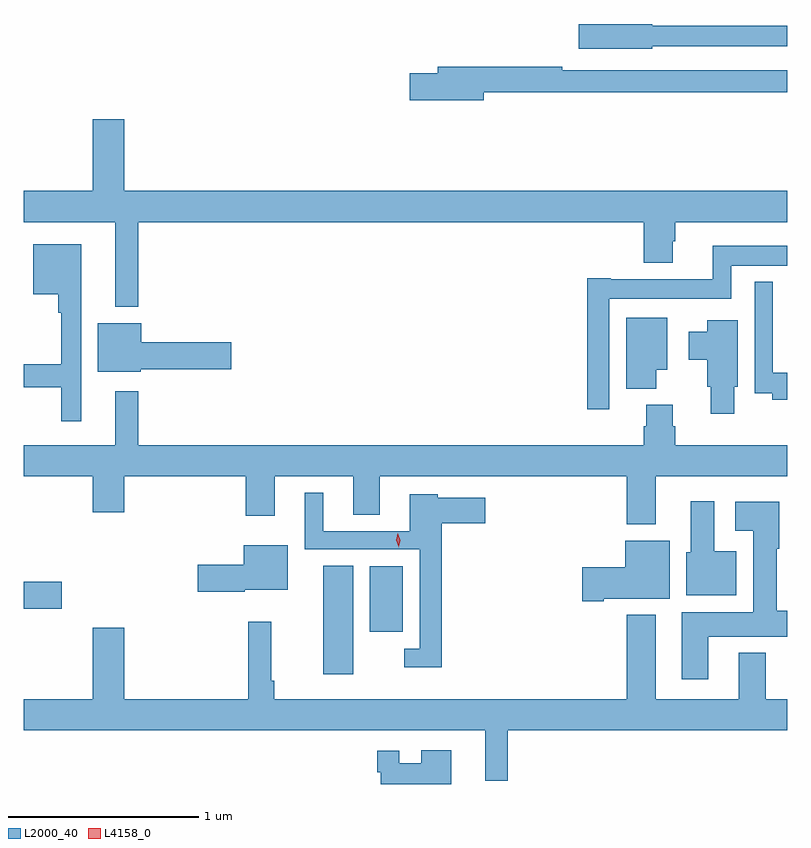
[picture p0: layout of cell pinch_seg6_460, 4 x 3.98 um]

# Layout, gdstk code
import gdstk
lib = gdstk.Library(unit=1e-6, precision=1e-09)
def R(c, l, rs):  # rectangles x0, y0, x1, y1
    for r in rs: c.add(gdstk.rectangle(r[:2], r[2:], *l))
def P(c, l, *ps):  # polygons
    for p in ps: c.add(gdstk.Polygon(p, *l))
L2000_40 = (2000, 40)
L4158_0 = (4158, 0)

pinch_seg6_460 = lib.new_cell('pinch_seg6_460')
R(pinch_seg6_460, L2000_40, [(789.593,916.995,789.748,917.564), (789.836,917.216,790.009,917.56), (788.023,917.338,788.221,917.48)])
P(pinch_seg6_460, L2000_40, [(791.316,920.286),(792.023,920.286),(792.023,920.395),(791.316,920.395),(791.316,920.403),(790.932,920.403),(790.932,920.273),(791.316,920.273)],
  [(790.432,920.044),(792.023,920.044),(792.023,920.16),(790.844,920.16),(790.844,920.18),(790.193,920.18),(790.193,920.144),(790.044,920.144),(790.044,920.002),(790.432,920.002)],
  [(788.623,919.364),(791.273,919.364),(791.273,919.151),(791.425,919.151),(791.425,919.263),(791.438,919.263),(791.438,919.364),(792.023,919.364),(792.023,919.528),(788.548,919.528),(788.548,919.903),(788.384,919.903),(788.384,919.528),(788.023,919.528),(788.023,919.364),(788.501,919.364),(788.501,918.92),(788.623,918.92)],
  [(788.323,919.249),(788.072,919.249),(788.072,918.986),(788.202,918.986),(788.202,918.89),(788.219,918.89),(788.219,918.619),(788.023,918.619),(788.023,918.498),(788.219,918.498),(788.219,918.321),(788.323,918.321)],
  [(791.091,918.962),(791.73,918.962),(791.73,919.136),(792.023,919.136),(792.023,919.24),(791.633,919.24),(791.633,919.066),(791.098,919.066),(791.098,919.069),(790.975,919.069),(790.975,918.384),(791.091,918.384)],
  [(792.023,918.574),(791.949,918.574),(791.949,919.051),(791.853,919.051),(791.853,918.468),(791.945,918.468),(791.945,918.434),(792.023,918.434)],
  [(791.338,918.59),(791.395,918.59),(791.395,918.862),(791.18,918.862),(791.18,918.491),(791.338,918.491)],
  [(791.746,918.501),(791.764,918.501),(791.764,918.85),(791.606,918.85),(791.606,918.79),(791.507,918.79),(791.507,918.643),(791.606,918.643),(791.606,918.501),(791.624,918.501),(791.624,918.36),(791.746,918.36)],
  [(788.634,918.592),(789.109,918.592),(789.109,918.734),(788.638,918.734),(788.638,918.835),(788.411,918.835),(788.411,918.581),(788.634,918.581)],
  [(791.285,918.294),(791.273,918.294),(791.273,918.196),(788.623,918.196),(788.623,918.478),(788.501,918.478),(788.501,918.196),(788.023,918.196),(788.023,918.032),(788.384,918.032),(788.384,917.844),(788.548,917.844),(788.548,918.032),(789.185,918.032),(789.185,917.826),(789.337,917.826),(789.337,918.032),(789.749,918.032),(789.749,917.83),(789.889,917.83),(789.889,918.032),(791.183,918.032),(791.183,917.78),(791.335,917.78),(791.335,918.032),(792.023,918.032),(792.023,918.196),(791.438,918.196),(791.438,918.294),(791.425,918.294),(791.425,918.406),(791.285,918.406)],
  [(790.214,917.786),(790.441,917.786),(790.441,917.92),(790.191,917.92),(790.191,917.938),(790.046,917.938),(790.046,917.745),(789.592,917.745),(789.592,917.947),(789.494,917.947),(789.494,917.649),(790.098,917.649),(790.098,917.127),(790.017,917.127),(790.017,917.03),(790.214,917.03)],
  [(791.758,917.638),(791.641,917.638),(791.641,917.902),(791.519,917.902),(791.519,917.634),(791.495,917.634),(791.495,917.408),(791.758,917.408)],
  [(791.611,917.192),(792.023,917.192),(792.023,917.327),(791.968,917.327),(791.968,917.651),(791.981,917.651),(791.981,917.899),(791.751,917.899),(791.751,917.747),(791.846,917.747),(791.846,917.32),(791.471,917.32),(791.471,916.968),(791.611,916.968)],
  [(791.062,917.39),(791.407,917.39),(791.407,917.695),(791.174,917.695),(791.174,917.556),(790.95,917.556),(790.95,917.378),(791.062,917.378)],
  [(789.18,917.438),(789.406,917.438),(789.406,917.671),(789.176,917.671),(789.176,917.568),(788.934,917.568),(788.934,917.426),(789.18,917.426)],
  [(790.559,916.7),(792.023,916.7),(792.023,916.864),(791.911,916.864),(791.911,917.107),(791.771,917.107),(791.771,916.864),(791.335,916.864),(791.335,917.305),(791.183,917.305),(791.183,916.864),(789.335,916.864),(789.335,916.96),(789.32,916.96),(789.32,917.269),(789.199,917.269),(789.199,916.864),(788.548,916.864),(788.548,917.239),(788.384,917.239),(788.384,916.864),(788.023,916.864),(788.023,916.7),(790.442,916.7),(790.442,916.437),(790.559,916.437)],
  [(790.264,916.597),(790.106,916.597),(790.106,916.528),(789.99,916.528),(789.99,916.594),(789.874,916.594),(789.874,916.481),(789.894,916.481),(789.894,916.419),(790.264,916.419)])
P(pinch_seg6_460, L4158_0, [(789.987,917.661),(789.987,917.662),(789.975,917.697),(789.982,917.733),(789.982,917.734),(789.983,917.733),(789.995,917.698),(789.988,917.662)])

lib.write_gds('pinch_seg6_460.gds')
